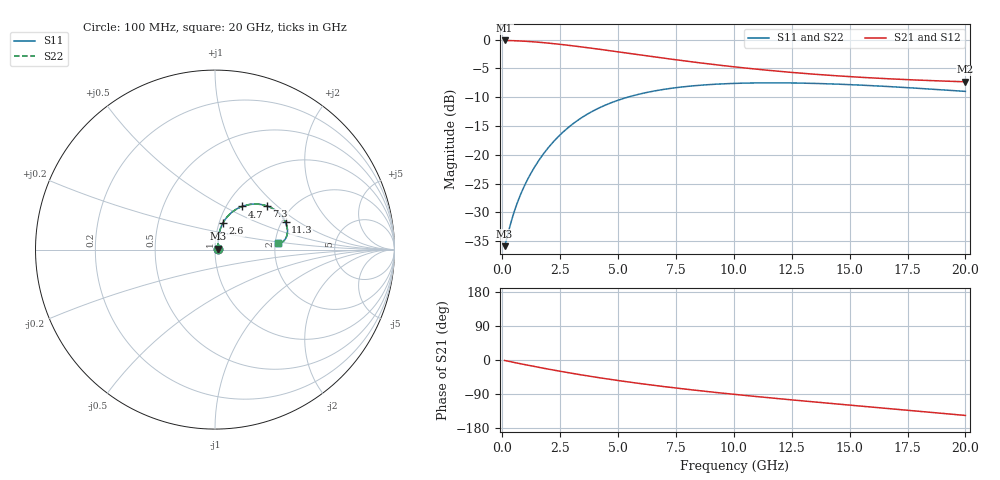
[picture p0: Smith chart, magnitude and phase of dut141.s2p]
! Touchstone file exported from HFSS 2024.1.0
!  File:  C:/UserFiles/LocalFiles/RDL_TSV_Batchsim/temp_RDL_TSV_141_1779429970.aedt
!  Generated:  02:23:41 PM May 22, 2026
!  Design:  RDL_TSV
!  Project:  temp_RDL_TSV_141_1779429970
!  Setup:  Setup1
!  Solution:  Sweep
! Variables:
!  dtsv = 5.52um
!  hbump = 3um
!  htsv = 62.24um
!  ldown = 570.17um
!  lrdl = 101.04um
!  p = 40
!  p1 = 55.46um
!  rhole = 10um
!  subl = 2114.67um
!  t = 450um
!  tdown = 3.33um
!  trdl = 2.09um
!  viad = 10um
!  wdown = 16.89um
!  wrdl = 29.15um
!  xbump = 18um
# GHz S MA R 50.000000
! Terminal data exported
! Port[1] = TM1_1_T1
! Port[2] = TM1_4_T1
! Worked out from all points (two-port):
!   200 points, 100 MHz to 20 GHz, reference 50 ohm
!   highest |S21| = -0.13 dB at 100 MHz (marker M1); lowest = -7.3 dB at 20 GHz (marker M2)
!   |S21| within 3 dB of the highest: start of sweep to 6.836 GHz
!   lowest |S11| = -35.9 dB at 100 MHz (marker M3), VSWR 1.03, Z = 51.5 + j0.577 ohm
!   |S11| at or under -10 dB: start of sweep to 5.409 GHz
!   |S22| runs from -35.9 to -7.5 dB; largest |S21 - S12| = 3e-14
!   S11 on the Smith chart (normalised r, x): 100 MHz: 1.03, +0.01; 2.6 GHz: 1.04, +0.32; 4.7 GHz: 1.18, +0.62; 7.3 GHz: 1.52, +0.86; 11.3 GHz: 2.10, +0.78; 20 GHz: 2.09, +0.17
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0.1  0.01607 20.4  0.9848 -1.3  0.9848 -1.3  0.01607 20.4
! Gamma 0 0 0 0
! Port Impedance 50 0 50 0
0.4  0.02694 53.0  0.9815 -5.1  0.9815 -5.1  0.02694 53.0
0.6  0.03596 62.1  0.9782 -7.6  0.9782 -7.6  0.03597 62.0
0.8  0.04567 67.6  0.974 -10.1  0.974 -10.1  0.04567 67.6
1.1  0.06147 72.5  0.9662 -13.7  0.9662 -13.7  0.06146 72.5
1.4  0.07864 74.9  0.9567 -17.3  0.9567 -17.3  0.07862 74.9
1.8  0.1033 75.9  0.9417 -21.9  0.9417 -21.9  0.1032 75.8
2.2  0.1293 75.1  0.9247 -26.5  0.9247 -26.5  0.1292 75.1
2.6  0.1559 73.3  0.9063 -30.8  0.9063 -30.8  0.1558 73.3
3  0.1825 70.9  0.8868 -35.1  0.8868 -35.1  0.1824 70.9
3.5  0.2147 67.3  0.8615 -40.1  0.8615 -40.1  0.2145 67.3
4.1  0.2507 62.7  0.8306 -46.0  0.8306 -46.0  0.2505 62.7
4.7  0.2831 58.0  0.7997 -51.5  0.7997 -51.5  0.2829 58.0
5.7  0.3282 50.5  0.7498 -60.1  0.7498 -60.1  0.3279 50.5
6.8  0.3653 43.1  0.6988 -68.8  0.6988 -68.8  0.3649 43.0
7.3  0.3783 40.0  0.6773 -72.5  0.6773 -72.5  0.378 39.9
8.6  0.4028 32.8  0.6269 -81.6  0.6269 -81.6  0.4024 32.7
10.1  0.4176 25.8  0.5784 -91.1  0.5784 -91.1  0.4171 25.7
11.3  0.4218 21.1  0.5464 -98.3  0.5464 -98.3  0.4213 21.1
13.4  0.4174 14.5  0.5026 -110.3  0.5026 -110.3  0.4169 14.5
16.7  0.3915 7.8  0.4573 -128.2  0.4573 -128.2  0.3909 7.8
20  0.3555 5.7  0.4307 -146.3  0.4307 -146.3  0.355 5.6
